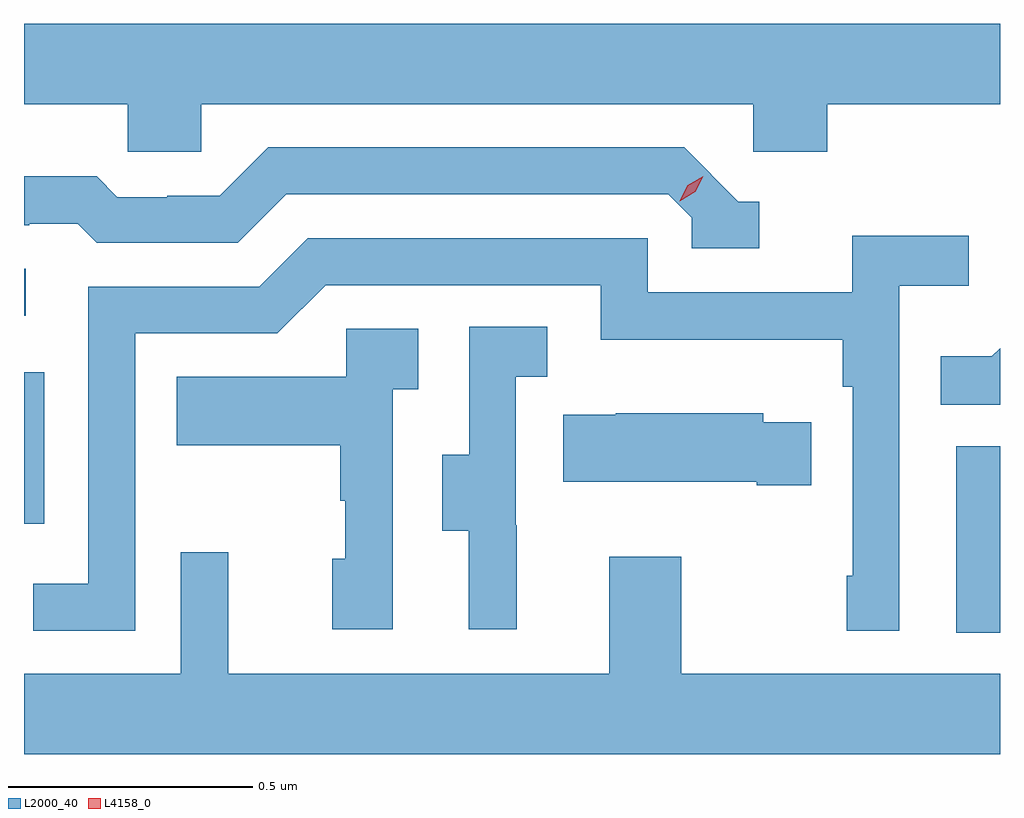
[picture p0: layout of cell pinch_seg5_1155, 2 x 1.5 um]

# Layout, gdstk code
import gdstk
lib = gdstk.Library(unit=1e-6, precision=1e-09)
def R(c, l, rs):  # rectangles x0, y0, x1, y1
    for r in rs: c.add(gdstk.rectangle(r[:2], r[2:], *l))
def P(c, l, *ps):  # polygons
    for p in ps: c.add(gdstk.Polygon(p, *l))
L2000_40 = (2000, 40)
L4158_0 = (4158, 0)

pinch_seg5_1155 = lib.new_cell('pinch_seg5_1155')
R(pinch_seg5_1155, L2000_40, [(817.376,849.017,817.466,849.399), (815.466,849.24,815.508,849.55), (815.466,849.666,815.47,849.762)])
P(pinch_seg5_1155, L2000_40, [(815.829,850.1),(816.96,850.1),(816.96,850.002),(817.112,850.002),(817.112,850.1),(817.466,850.1),(817.466,850.264),(815.466,850.264),(815.466,850.1),(815.679,850.1),(815.679,850.002),(815.829,850.002)],
  [(816.973,849.9),(816.93,849.9),(816.819,850.011),(815.966,850.011),(815.867,849.912),(815.76,849.912),(815.76,849.909),(815.657,849.909),(815.615,849.952),(815.466,849.952),(815.466,849.852),(815.477,849.852),(815.477,849.855),(815.576,849.855),(815.615,849.816),(815.904,849.816),(816.003,849.915),(816.786,849.915),(816.834,849.867),(816.834,849.804),(816.973,849.804)],
  [(815.694,849.63),(815.985,849.63),(816.084,849.729),(816.648,849.729),(816.648,849.617),(817.144,849.617),(817.144,849.521),(817.164,849.521),(817.164,849.133),(817.152,849.133),(817.152,849.021),(817.26,849.021),(817.26,849.728),(817.402,849.728),(817.402,849.83),(817.163,849.83),(817.163,849.714),(816.744,849.714),(816.744,849.825),(816.047,849.825),(815.948,849.726),(815.598,849.726),(815.598,849.117),(815.485,849.117),(815.485,849.021),(815.694,849.021)],
  [(816.476,849.237),(816.474,849.237),(816.474,849.541),(816.538,849.541),(816.538,849.644),(816.378,849.644),(816.378,849.381),(816.323,849.381),(816.323,849.226),(816.377,849.226),(816.377,849.024),(816.476,849.024)],
  [(816.222,849.515),(816.274,849.515),(816.274,849.639),(816.126,849.639),(816.126,849.541),(815.779,849.541),(815.779,849.401),(816.114,849.401),(816.114,849.287),(816.124,849.287),(816.124,849.168),(816.098,849.168),(816.098,849.024),(816.222,849.024)],
  [(817.466,849.6),(817.449,849.583),(817.345,849.583),(817.345,849.484),(817.466,849.484)],
  [(817.079,849.448),(816.981,849.448),(816.981,849.466),(816.679,849.466),(816.679,849.463),(816.571,849.463),(816.571,849.326),(816.968,849.326),(816.968,849.319),(817.079,849.319)],
  [(817.466,848.932),(816.813,848.932),(816.813,849.172),(816.665,849.172),(816.665,848.932),(815.885,848.932),(815.885,849.181),(815.787,849.181),(815.787,848.932),(815.466,848.932),(815.466,848.768),(817.466,848.768)])
P(pinch_seg5_1155, L4158_0, [(816.81,849.901),(816.81,849.902),(816.826,849.934),(816.858,849.952),(816.858,849.952),(816.858,849.952),(816.841,849.92),(816.81,849.901)])

lib.write_gds('pinch_seg5_1155.gds')
